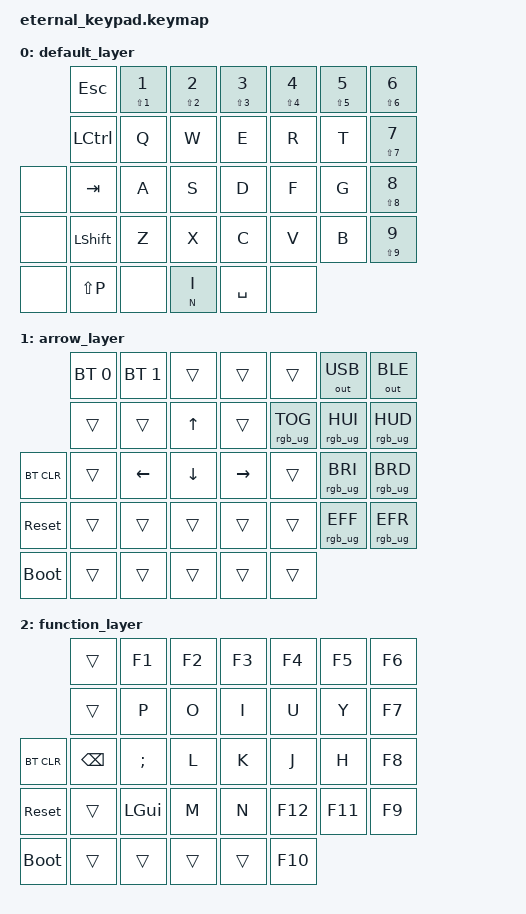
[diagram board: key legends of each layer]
/*
 * Copyright (c) 2022 The ZMK Contributors
 *
 * SPDX-License-Identifier: MIT
 */

#include <behaviors.dtsi>
#include <dt-bindings/zmk/keys.h>
#include <dt-bindings/zmk/bt.h>
#include <dt-bindings/zmk/outputs.h>
#include <dt-bindings/zmk/rgb.h>

#define BASE        0
#define ARROW       1
#define FUNC        2

/ {
  chosen {
      zmk,kscan = &kscan0;
      zmk,matrix-transform = &default_transform;
  };
  behaviors {
        td: tapdance {
            compatible = "zmk,behavior-hold-tap";
            label = "TAPDANCE";
            #binding-cells = <2>;
            tapping-term-ms = <200>;
            quick_tap_ms = <0>;
            flavor = "tap-preferred";
            bindings = <&kp>, <&kp>;
        };
   };

  keymap {
    compatible = "zmk,keymap";

    default_layer {
      bindings = <
                    &kp ESC    &td LS(N1) N1     &td LS(N2) N2   &td LS(N3) N3   &td LS(N4) N4    &td LS(N5) N5  &td LS(N6) N6
                    &kp LCTRL  &kp Q             &kp W           &kp E           &kp R            &kp T          &td LS(N7) N7
        &none       &kp TAB    &kp A             &kp S           &kp D           &kp F            &kp G          &td LS(N8) N8
        &none       &kp LSHFT  &kp Z             &kp X           &kp C           &kp V            &kp B          &td LS(N9) N9
        &none       &kp LS(P)  &none             &td N I       &kp SPACE       &none
      >;
    };

    arrow_layer {
      bindings = <
                    &bt BT_SEL 0 &bt BT_SEL 1 &trans     &trans    &trans           &out OUT_USB     &out OUT_BLE
                    &trans       &trans       &kp UP     &trans    &rgb_ug RGB_TOG  &rgb_ug RGB_HUI  &rgb_ug RGB_HUD
        &bt BT_CLR  &trans       &kp LEFT     &kp DOWN   &kp RIGHT &trans           &rgb_ug RGB_BRI  &rgb_ug RGB_BRD
        &sys_reset      &trans       &trans       &trans     &trans    &trans           &rgb_ug RGB_EFF  &rgb_ug RGB_EFR
        &bootloader &trans       &trans       &trans               &trans                            &trans
      >;
    };

    function_layer {
      bindings = <
                    &trans    &kp F1    &kp F2   &kp F3    &kp F4   &kp F5   &kp F6
                    &trans    &kp P     &kp O    &kp I     &kp U    &kp Y    &kp F7
        &bt BT_CLR  &kp BSPC  &kp SEMI  &kp L    &kp K     &kp J    &kp H    &kp F8
        &sys_reset      &trans    &kp LGUI  &kp M    &kp N     &kp F12  &kp F11  &kp F9
        &bootloader &trans    &trans    &trans             &trans            &kp F10
      >;
    };
  };
};
